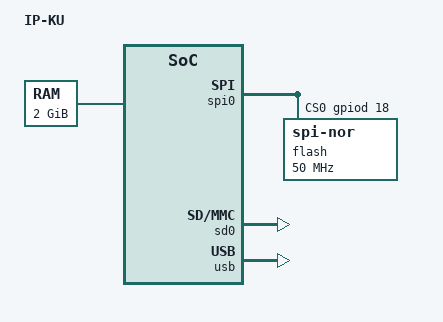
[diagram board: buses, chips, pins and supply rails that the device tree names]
/*
 * Copyright 2015-2016 ELVEES NeoTek JSC
 *
 * This program is free software; you can redistribute it and/or modify
 * it under the terms of the GNU General Public License version 2 as
 * published by the Free Software Foundation.
 */

/dts-v1/;

#include <dt-bindings/interrupt-controller/irq.h>

#include "mcom02.dtsi"

/ {
	model = "IP-KU";
	revision = "1.1";

	chosen {
		bootargs = "console=ttyS0,115200";
	};

	aliases {
		spi0 = &spi0;
	};

	memory {
		device_type = "memory";
		reg = <0x40000000 0x40000000
		       0xa0000000 0x40000000>;
	};
};

&spi0 {
	status = "okay";
	num-cs = <1>;
	/* Third argument of "cs-gpios" property is set to 0,
	 * because it is ignored by the SPI driver. */
	cs-gpios = <&gpiod 18 0>;

	flash: flash@0 {
		#address-cells = <1>;
		#size-cells = <1>;
		compatible = "jedec,spi-nor", "spi-flash";
		reg = <0>;
		/* Max clock frequency, specified in the Cypress S25FL256S SPI
		 * Flash Memory datasheet, is 50 MHz for read commands. */
		spi-max-frequency = <50000000>;
		m25p,fast-read;
		u-boot,dm-pre-reloc;
	};
};

&sd0 {
	status = "okay";
};

&usb {
	status = "okay";
};

/* IP-KU hangs at high SPLL values, so we should decrease it. */
&spllclk {
	clock-mult = <6>;
};

&l3_pclk {
	clock-div = <1>;
};
